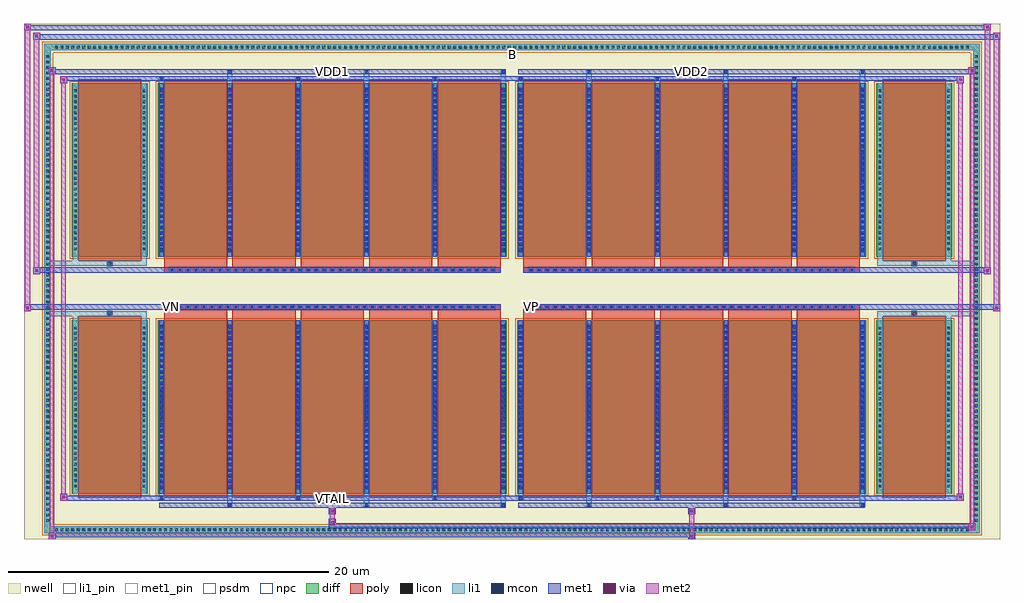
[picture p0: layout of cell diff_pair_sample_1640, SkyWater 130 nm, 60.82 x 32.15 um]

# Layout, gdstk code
import gdstk
lib = gdstk.Library(unit=1e-6, precision=5e-09)
def R(c, l, rs):  # rectangles x0, y0, x1, y1
    for r in rs: c.add(gdstk.rectangle(r[:2], r[2:], *l))
def A(c, l, x, y, w, h, nx, ny, dx, dy):  # array of equal rectangles
    R(c, l, [(x+i*dx, y+j*dy, x+i*dx+w, y+j*dy+h) for i in range(nx) for j in range(ny)])
def P(c, l, *ps):  # polygons
    for p in ps: c.add(gdstk.Polygon(p, *l))
nwell = (64, 20)
diff = (65, 20)
poly = (66, 20)
licon = (66, 44)
li1_pin = (67, 16)
li1 = (67, 20)
mcon = (67, 44)
met1_pin = (68, 16)
met1 = (68, 20)
via = (68, 44)
met2 = (69, 20)
psdm = (94, 20)
npc = (95, 20)

diff_pair_sample_1640 = lib.new_cell('diff_pair_sample_1640')
R(diff_pair_sample_1640, nwell, [(-30.41,-15.64,30.41,16.51), (-27.73,-13.83,-0.01,-0.795), (0.01,-13.83,27.73,-0.795), (-27.73,0.795,-0.01,13.83), (0.01,0.795,27.73,13.83)])
A(diff_pair_sample_1640, diff, -28.595, -15.24, 0.41, 0.41, 168, 2, 0.34, 30.07)
A(diff_pair_sample_1640, diff, -29.14, -14.655, 0.41, 0.41, 1, 86, 0, 0.34)
A(diff_pair_sample_1640, diff, 28.73, -14.655, 0.41, 0.41, 1, 86, 0, 0.34)
R(diff_pair_sample_1640, diff, [(-28.595,-15.24,28.595,-14.83), (-29.14,-14.655,-28.73,14.655), (28.73,-14.655,29.14,14.655), (-27.42,-12.785,-22.71,-1.985), (-22.07,-12.785,-0.32,-1.985), (0.32,-12.785,22.07,-1.985), (22.71,-12.785,27.42,-1.985), (-27.42,1.985,-22.71,12.785), (-22.07,1.985,-0.32,12.785), (0.32,1.985,22.07,12.785), (22.71,1.985,27.42,12.785), (-28.595,14.83,28.595,15.24)])
P(diff_pair_sample_1640, diff, [(29.14,15.24),(-29.14,15.24),(-29.14,-14.83),(-28.73,-14.83),(-28.73,14.83),(28.73,14.83),(28.73,-14.83),(-28.73,-14.83),(-29.14,-14.83),(-29.14,-15.24),(29.14,-15.24)])
A(diff_pair_sample_1640, poly, -21.68, -13.035, 3.93, 11.3, 5, 2, 4.26, 14.77)
A(diff_pair_sample_1640, poly, 0.71, -13.035, 3.93, 11.3, 5, 2, 4.26, 14.77)
A(diff_pair_sample_1640, poly, -21.68, -1.735, 3.93, 0.41, 5, 2, 4.26, 3.06)
A(diff_pair_sample_1640, poly, 0.71, -1.735, 3.93, 0.41, 5, 2, 4.26, 3.06)
A(diff_pair_sample_1640, poly, -21.36, -1.325, 0.33, 0.33, 41, 2, 0.5, 2.32)
A(diff_pair_sample_1640, poly, 1.03, -1.325, 0.33, 0.33, 41, 2, 0.5, 2.32)
R(diff_pair_sample_1640, poly, [(-27.03,-13.035,-23.1,-1.735), (23.1,-13.035,27.03,-1.735), (-25.23,-1.735,-24.9,-1.405), (-25.23,-1.735,-24.9,-1.405), (24.9,-1.735,25.23,-1.405), (24.9,-1.735,25.23,-1.405), (-21.68,-1.325,-0.71,-0.995), (0.71,-1.325,21.68,-0.995), (-21.68,0.995,-0.71,1.325), (0.71,0.995,21.68,1.325), (-25.23,1.405,-24.9,1.735), (-25.23,1.405,-24.9,1.735), (24.9,1.405,25.23,1.735), (24.9,1.405,25.23,1.735), (-27.03,1.735,-23.1,13.035), (23.1,1.735,27.03,13.035)])
A(diff_pair_sample_1640, licon, -28.475, -15.12, 0.17, 0.17, 168, 2, 0.34, 30.07)
A(diff_pair_sample_1640, licon, -29.02, -14.535, 0.17, 0.17, 1, 86, 0, 0.34)
A(diff_pair_sample_1640, licon, 28.85, -14.535, 0.17, 0.17, 1, 86, 0, 0.34)
A(diff_pair_sample_1640, licon, -27.28, -12.4, 0.17, 0.17, 1, 30, 0, 0.34)
A(diff_pair_sample_1640, licon, -23.02, -12.4, 0.17, 0.17, 1, 30, 0, 0.34)
A(diff_pair_sample_1640, licon, -21.93, -12.4, 0.17, 0.17, 6, 30, 4.26, 0.34)
A(diff_pair_sample_1640, licon, 0.46, -12.4, 0.17, 0.17, 6, 30, 4.26, 0.34)
A(diff_pair_sample_1640, licon, 22.85, -12.4, 0.17, 0.17, 1, 30, 0, 0.34)
A(diff_pair_sample_1640, licon, 27.11, -12.4, 0.17, 0.17, 1, 30, 0, 0.34)
A(diff_pair_sample_1640, licon, -21.28, -1.245, 0.17, 0.17, 41, 2, 0.5, 2.32)
A(diff_pair_sample_1640, licon, 1.11, -1.245, 0.17, 0.17, 41, 2, 0.5, 2.32)
A(diff_pair_sample_1640, licon, -27.28, 2.37, 0.17, 0.17, 1, 30, 0, 0.34)
A(diff_pair_sample_1640, licon, -23.02, 2.37, 0.17, 0.17, 1, 30, 0, 0.34)
A(diff_pair_sample_1640, licon, -21.93, 2.37, 0.17, 0.17, 6, 30, 4.26, 0.34)
A(diff_pair_sample_1640, licon, 0.46, 2.37, 0.17, 0.17, 6, 30, 4.26, 0.34)
A(diff_pair_sample_1640, licon, 22.85, 2.37, 0.17, 0.17, 1, 30, 0, 0.34)
A(diff_pair_sample_1640, licon, 27.11, 2.37, 0.17, 0.17, 1, 30, 0, 0.34)
R(diff_pair_sample_1640, licon, [(-25.15,-1.655,-24.98,-1.485), (24.98,-1.655,25.15,-1.485), (-25.15,1.485,-24.98,1.655), (24.98,1.485,25.15,1.655)])
R(diff_pair_sample_1640, li1_pin, [(-0.25,14.33,0.25,14.83)])
A(diff_pair_sample_1640, li1, -28.555, -15.2, 0.33, 0.33, 168, 2, 0.34, 30.07)
A(diff_pair_sample_1640, li1, -29.1, -14.615, 0.33, 0.33, 1, 86, 0, 0.34)
A(diff_pair_sample_1640, li1, 28.77, -14.615, 0.33, 0.33, 1, 86, 0, 0.34)
A(diff_pair_sample_1640, li1, -17.75, -13.59, 0.33, 0.805, 3, 2, 8.52, 26.375)
A(diff_pair_sample_1640, li1, -17.67, -13.59, 0.17, 0.17, 3, 2, 8.52, 27.01)
A(diff_pair_sample_1640, li1, 4.64, -13.59, 0.33, 0.805, 3, 2, 8.52, 26.375)
A(diff_pair_sample_1640, li1, 4.72, -13.59, 0.17, 0.17, 3, 2, 8.52, 27.01)
A(diff_pair_sample_1640, li1, -22.01, -13.16, 0.33, 0.375, 3, 2, 8.52, 25.945)
A(diff_pair_sample_1640, li1, -21.93, -13.16, 0.17, 0.17, 3, 2, 8.52, 26.15)
A(diff_pair_sample_1640, li1, 0.38, -13.16, 0.33, 0.375, 3, 2, 8.52, 25.945)
A(diff_pair_sample_1640, li1, 0.46, -13.16, 0.17, 0.17, 3, 2, 8.52, 26.15)
A(diff_pair_sample_1640, li1, -22.01, -12.785, 0.33, 10.8, 6, 2, 4.26, 14.77)
A(diff_pair_sample_1640, li1, 0.38, -12.785, 0.33, 10.8, 6, 2, 4.26, 14.77)
A(diff_pair_sample_1640, li1, -21.93, -12.51, 0.17, 0.17, 6, 29, 4.26, 0.36)
A(diff_pair_sample_1640, li1, -21.93, -12.51, 0.17, 10.25, 6, 2, 4.26, 14.77)
A(diff_pair_sample_1640, li1, 0.46, -12.51, 0.17, 0.17, 6, 29, 4.26, 0.36)
A(diff_pair_sample_1640, li1, 0.46, -12.51, 0.17, 10.25, 6, 2, 4.26, 14.77)
A(diff_pair_sample_1640, li1, -27.36, -12.48, 0.33, 0.33, 1, 30, 0, 0.34)
A(diff_pair_sample_1640, li1, -23.1, -12.48, 0.33, 0.33, 1, 30, 0, 0.34)
A(diff_pair_sample_1640, li1, -22.01, -12.48, 0.33, 0.33, 6, 30, 4.26, 0.34)
A(diff_pair_sample_1640, li1, 0.38, -12.48, 0.33, 0.33, 6, 30, 4.26, 0.34)
A(diff_pair_sample_1640, li1, 22.77, -12.48, 0.33, 0.33, 1, 30, 0, 0.34)
A(diff_pair_sample_1640, li1, 27.03, -12.48, 0.33, 0.33, 1, 30, 0, 0.34)
A(diff_pair_sample_1640, li1, -21.36, -1.325, 0.33, 0.33, 41, 2, 0.5, 2.32)
A(diff_pair_sample_1640, li1, 1.03, -1.325, 0.33, 0.33, 41, 2, 0.5, 2.32)
A(diff_pair_sample_1640, li1, -21.93, 2.26, 0.17, 0.17, 6, 29, 4.26, 0.36)
A(diff_pair_sample_1640, li1, 0.46, 2.26, 0.17, 0.17, 6, 29, 4.26, 0.36)
A(diff_pair_sample_1640, li1, -27.36, 2.29, 0.33, 0.33, 1, 30, 0, 0.34)
A(diff_pair_sample_1640, li1, -23.1, 2.29, 0.33, 0.33, 1, 30, 0, 0.34)
A(diff_pair_sample_1640, li1, -22.01, 2.29, 0.33, 0.33, 6, 30, 4.26, 0.34)
A(diff_pair_sample_1640, li1, 0.38, 2.29, 0.33, 0.33, 6, 30, 4.26, 0.34)
A(diff_pair_sample_1640, li1, 22.77, 2.29, 0.33, 0.33, 1, 30, 0, 0.34)
A(diff_pair_sample_1640, li1, 27.03, 2.29, 0.33, 0.33, 1, 30, 0, 0.34)
R(diff_pair_sample_1640, li1, [(-29.14,-15.24,-28.73,-14.83), (-29.14,-15.24,-28.73,-14.83), (-28.73,-15.24,28.73,-14.83), (28.73,-15.24,29.14,-14.83), (28.73,-15.24,29.14,-14.83), (-29.14,-14.83,-28.73,14.83), (28.73,-14.83,29.14,14.83), (-27.36,-12.785,-27.03,-1.985), (-23.1,-12.785,-22.77,-1.985), (22.77,-12.785,23.1,-1.985), (27.03,-12.785,27.36,-1.985), (-27.36,-1.985,-27.03,-1.405), (-23.1,-1.985,-22.77,-1.405), (22.77,-1.985,23.1,-1.405), (27.03,-1.985,27.36,-1.405), (-29.14,-1.735,-25.23,-1.405), (-27.36,-1.735,-25.23,-1.405), (-25.23,-1.735,-24.9,-1.405), (-24.9,-1.735,-22.77,-1.405), (22.77,-1.735,24.9,-1.405), (24.9,-1.735,25.23,-1.405), (24.9,-1.735,29.14,-1.405), (25.23,-1.735,27.36,-1.405), (-29.14,1.405,-25.23,1.735), (-27.36,1.405,-25.23,1.735), (-27.36,1.405,-27.03,1.985), (-25.23,1.405,-24.9,1.735), (-24.9,1.405,-22.77,1.735), (-23.1,1.405,-22.77,1.985), (22.77,1.405,24.9,1.735), (22.77,1.405,23.1,1.985), (24.9,1.405,25.23,1.735), (24.9,1.405,29.14,1.735), (25.23,1.405,27.36,1.735), (27.03,1.405,27.36,1.985), (-27.36,1.985,-27.03,12.785), (-23.1,1.985,-22.77,12.785), (22.77,1.985,23.1,12.785), (27.03,1.985,27.36,12.785), (-29.14,14.83,-28.73,15.24), (-29.14,14.83,-28.73,15.24), (-28.73,14.83,28.73,15.24), (28.73,14.83,29.14,15.24), (28.73,14.83,29.14,15.24)])
A(diff_pair_sample_1640, mcon, -17.67, -13.59, 0.17, 0.17, 3, 2, 8.52, 27.01)
A(diff_pair_sample_1640, mcon, 4.72, -13.59, 0.17, 0.17, 3, 2, 8.52, 27.01)
A(diff_pair_sample_1640, mcon, -21.93, -13.16, 0.17, 0.17, 3, 2, 8.52, 26.15)
A(diff_pair_sample_1640, mcon, 0.46, -13.16, 0.17, 0.17, 3, 2, 8.52, 26.15)
A(diff_pair_sample_1640, mcon, -21.93, -12.51, 0.17, 0.17, 6, 29, 4.26, 0.36)
A(diff_pair_sample_1640, mcon, 0.46, -12.51, 0.17, 0.17, 6, 29, 4.26, 0.36)
A(diff_pair_sample_1640, mcon, -21.28, -1.245, 0.17, 0.17, 41, 2, 0.5, 2.32)
A(diff_pair_sample_1640, mcon, 1.11, -1.245, 0.17, 0.17, 41, 2, 0.5, 2.32)
A(diff_pair_sample_1640, mcon, -21.93, 2.26, 0.17, 0.17, 6, 29, 4.26, 0.36)
A(diff_pair_sample_1640, mcon, 0.46, 2.26, 0.17, 0.17, 6, 29, 4.26, 0.36)
R(diff_pair_sample_1640, met1_pin, [(-11.33,-13.2,-11.06,-12.93), (-21.33,-1.285,-21.06,-1.015), (1.06,-1.285,1.33,-1.015), (-11.33,13.38,-11.06,13.65), (11.06,13.38,11.33,13.65)])
A(diff_pair_sample_1640, met1, -17.73, -13.65, 0.29, 0.29, 3, 2, 8.52, 27.01)
A(diff_pair_sample_1640, met1, 4.66, -13.65, 0.29, 0.29, 3, 2, 8.52, 27.01)
A(diff_pair_sample_1640, met1, -21.99, -13.22, 0.29, 0.29, 3, 2, 8.52, 26.15)
A(diff_pair_sample_1640, met1, 0.4, -13.22, 0.29, 0.29, 3, 2, 8.52, 26.15)
A(diff_pair_sample_1640, met1, -21.99, -12.785, 0.29, 10.8, 6, 2, 4.26, 14.77)
A(diff_pair_sample_1640, met1, 0.4, -12.785, 0.29, 10.8, 6, 2, 4.26, 14.77)
A(diff_pair_sample_1640, met1, -21.99, -12.57, 0.29, 0.29, 6, 29, 4.26, 0.36)
A(diff_pair_sample_1640, met1, 0.4, -12.57, 0.29, 0.29, 6, 29, 4.26, 0.36)
A(diff_pair_sample_1640, met1, -21.34, -1.305, 0.29, 0.29, 41, 2, 0.5, 2.32)
A(diff_pair_sample_1640, met1, 1.05, -1.305, 0.29, 0.29, 41, 2, 0.5, 2.32)
A(diff_pair_sample_1640, met1, -21.99, 2.2, 0.29, 0.29, 6, 29, 4.26, 0.36)
A(diff_pair_sample_1640, met1, 0.4, 2.2, 0.29, 0.29, 6, 29, 4.26, 0.36)
R(diff_pair_sample_1640, met1, [(-28.87,-15.64,-28.44,-15.21), (10.98,-15.64,11.41,-15.21), (-28.87,-15.5,11.41,-15.21), (28.44,-15.07,28.87,-14.64), (-11.41,-14.93,28.87,-14.64), (-11.41,-14.79,-10.98,-14.36), (-11.41,-14.08,-10.98,-13.65), (10.98,-14.08,11.41,-13.65), (-21.99,-13.65,-0.4,-13.36), (0.4,-13.65,21.99,-13.36), (-28.16,-13.22,-27.73,-12.79), (-28.16,-13.22,-21.99,-12.93), (-21.99,-13.22,-0.4,-12.93), (-0.4,-13.22,0.4,-12.93), (0.4,-13.22,21.99,-12.93), (21.99,-13.22,28.16,-12.93), (27.73,-13.22,28.16,-12.79), (-30.41,-1.425,-29.98,-0.995), (29.98,-1.425,30.41,-0.995), (-30.41,-1.325,-0.71,-0.995), (-21.68,-1.325,-0.71,-0.995), (0.71,-1.325,21.68,-0.995), (0.71,-1.325,30.41,-0.995), (-29.84,0.895,-29.41,1.325), (29.41,0.895,29.84,1.325), (-29.84,0.995,-21.68,1.325), (-21.68,0.995,-0.71,1.325), (0.71,0.995,21.68,1.325), (21.68,0.995,29.84,1.325), (-28.16,12.79,-27.73,13.22), (27.73,12.79,28.16,13.22), (-28.16,12.93,-21.99,13.22), (-21.99,12.93,-0.4,13.22), (-0.4,12.93,0.4,13.22), (0.4,12.93,21.99,13.22), (21.99,12.93,28.16,13.22), (-28.87,13.36,-28.44,13.79), (-28.87,13.36,-21.99,13.65), (-21.99,13.36,-0.4,13.65), (0.4,13.36,21.99,13.65), (21.99,13.36,28.87,13.65), (28.44,13.36,28.87,13.79), (-29.84,15.51,-29.41,15.94), (-29.84,15.51,-27.73,15.84), (-27.73,15.51,27.73,15.84), (27.73,15.51,30.41,15.84), (29.98,15.51,30.41,15.94), (-30.41,16.08,-29.98,16.51), (-30.41,16.08,-27.73,16.41), (-27.73,16.08,27.73,16.41), (27.73,16.08,29.84,16.41), (29.41,16.08,29.84,16.51)])
R(diff_pair_sample_1640, via, [(-28.73,-15.5,-28.58,-15.35), (11.12,-15.5,11.27,-15.35), (28.58,-14.93,28.73,-14.78), (-11.27,-14.65,-11.12,-14.5), (-11.27,-13.94,-11.12,-13.79), (11.12,-13.94,11.27,-13.79), (-28.02,-13.08,-27.87,-12.93), (27.87,-13.08,28.02,-12.93), (-30.27,-1.285,-30.12,-1.135), (30.12,-1.285,30.27,-1.135), (-29.7,1.035,-29.55,1.185), (29.55,1.035,29.7,1.185), (-28.02,12.93,-27.87,13.08), (27.87,12.93,28.02,13.08), (-28.73,13.5,-28.58,13.65), (28.58,13.5,28.73,13.65), (-29.7,15.65,-29.55,15.8), (30.12,15.65,30.27,15.8), (-30.27,16.22,-30.12,16.37), (29.55,16.22,29.7,16.37)])
R(diff_pair_sample_1640, met2, [(-28.87,-15.64,-28.44,-15.21), (-28.8,-15.64,-28.51,13.79), (-28.51,-15.64,-28.44,-15.21), (-28.82,-15.59,-28.49,-15.26), (11.03,-15.59,11.36,-15.26), (11.03,-15.26,11.36,-14.03), (28.44,-15.07,28.87,-14.64), (28.51,-15.07,28.8,13.79), (28.8,-15.07,28.87,-14.64), (28.49,-15.02,28.82,-14.69), (-11.36,-14.74,-11.03,-14.41), (-11.36,-14.41,-11.03,-14.03), (-11.36,-14.03,-11.03,-13.7), (11.03,-14.03,11.36,-13.7), (-28.16,-13.22,-27.73,-12.79), (-28.09,-13.22,-27.8,13.22), (-27.8,-13.22,-27.73,-12.79), (27.73,-13.22,28.16,-12.79), (27.8,-13.22,28.09,13.22), (28.09,-13.22,28.16,-12.79), (-28.11,-13.17,-27.78,-12.84), (27.78,-13.17,28.11,-12.84), (-30.41,-1.425,-29.98,-0.995), (-30.36,-1.425,-30.03,16.51), (-30.03,-1.425,-29.98,-0.995), (29.98,-1.425,30.41,-0.995), (30.03,-1.425,30.36,15.94), (30.36,-1.425,30.41,-0.995), (-30.36,-1.375,-30.03,-1.045), (30.03,-1.375,30.36,-1.045), (-29.84,0.895,-29.41,1.325), (-29.79,0.895,-29.46,15.94), (-29.46,0.895,-29.41,1.325), (29.41,0.895,29.84,1.325), (29.46,0.895,29.79,16.51), (29.79,0.895,29.84,1.325), (-29.79,0.945,-29.46,1.275), (29.46,0.945,29.79,1.275), (-28.16,12.79,-27.73,13.22), (-27.8,12.79,-27.73,13.22), (27.73,12.79,28.16,13.22), (28.09,12.79,28.16,13.22), (-28.11,12.84,-27.78,13.17), (27.78,12.84,28.11,13.17), (-28.87,13.36,-28.44,13.79), (-28.51,13.36,-28.44,13.79), (28.44,13.36,28.87,13.79), (28.8,13.36,28.87,13.79), (-28.82,13.41,-28.49,13.74), (28.49,13.41,28.82,13.74), (-29.84,15.51,-29.41,15.94), (-29.46,15.51,-29.41,15.94), (29.98,15.51,30.41,15.94), (30.36,15.51,30.41,15.94), (-29.79,15.56,-29.46,15.89), (30.03,15.56,30.36,15.89), (-30.41,16.08,-29.98,16.51), (-30.03,16.08,-29.98,16.51), (29.41,16.08,29.84,16.51), (29.79,16.08,29.84,16.51), (-30.36,16.13,-30.03,16.46), (29.46,16.13,29.79,16.46)])
R(diff_pair_sample_1640, psdm, [(-27.55,-12.915,-22.58,-1.855), (-22.2,-12.915,-0.19,-1.855), (0.19,-12.915,22.2,-1.855), (22.58,-12.915,27.55,-1.855), (-27.55,1.855,-22.58,12.915), (-22.2,1.855,-0.19,12.915), (0.19,1.855,22.2,12.915), (22.58,1.855,27.55,12.915)])
P(diff_pair_sample_1640, psdm, [(29.27,15.37),(-29.27,15.37),(-29.27,-14.7),(-28.6,-14.7),(-28.6,14.7),(28.6,14.7),(28.6,-14.7),(-28.6,-14.7),(-29.27,-14.7),(-29.27,-15.37),(29.27,-15.37)])
A(diff_pair_sample_1640, npc, -21.38, -1.345, 0.37, 0.37, 41, 2, 0.5, 2.32)
A(diff_pair_sample_1640, npc, 1.01, -1.345, 0.37, 0.37, 41, 2, 0.5, 2.32)
R(diff_pair_sample_1640, npc, [(-25.25,-1.755,-24.88,-1.385), (24.88,-1.755,25.25,-1.385), (-21.38,-1.345,-20.51,-0.975), (-21.38,-1.345,-20.51,-0.975), (-20.88,-1.345,-20.01,-0.975), (-20.88,-1.345,-20.01,-0.975), (-20.38,-1.345,-19.51,-0.975), (-20.38,-1.345,-19.51,-0.975), (-19.88,-1.345,-19.01,-0.975), (-19.88,-1.345,-19.01,-0.975), (-19.38,-1.345,-18.51,-0.975), (-19.38,-1.345,-18.51,-0.975), (-18.88,-1.345,-18.01,-0.975), (-18.88,-1.345,-18.01,-0.975), (-18.38,-1.345,-17.51,-0.975), (-18.38,-1.345,-17.51,-0.975), (-17.88,-1.345,-17.01,-0.975), (-17.88,-1.345,-17.01,-0.975), (-17.38,-1.345,-16.51,-0.975), (-17.38,-1.345,-16.51,-0.975), (-16.88,-1.345,-16.01,-0.975), (-16.88,-1.345,-16.01,-0.975), (-16.38,-1.345,-15.51,-0.975), (-16.38,-1.345,-15.51,-0.975), (-15.88,-1.345,-15.01,-0.975), (-15.88,-1.345,-15.01,-0.975), (-15.38,-1.345,-14.51,-0.975), (-15.38,-1.345,-14.51,-0.975), (-14.88,-1.345,-14.01,-0.975), (-14.88,-1.345,-14.01,-0.975), (-14.38,-1.345,-13.51,-0.975), (-14.38,-1.345,-13.51,-0.975), (-13.88,-1.345,-13.01,-0.975), (-13.88,-1.345,-13.01,-0.975), (-13.38,-1.345,-12.51,-0.975), (-13.38,-1.345,-12.51,-0.975), (-12.88,-1.345,-12.01,-0.975), (-12.88,-1.345,-12.01,-0.975), (-12.38,-1.345,-11.51,-0.975), (-12.38,-1.345,-11.51,-0.975), (-11.88,-1.345,-11.01,-0.975), (-11.88,-1.345,-11.01,-0.975), (-11.38,-1.345,-10.51,-0.975), (-11.38,-1.345,-10.51,-0.975), (-10.88,-1.345,-10.01,-0.975), (-10.88,-1.345,-10.01,-0.975), (-10.38,-1.345,-9.51,-0.975), (-10.38,-1.345,-9.51,-0.975), (-9.88,-1.345,-9.01,-0.975), (-9.88,-1.345,-9.01,-0.975), (-9.38,-1.345,-8.51,-0.975), (-9.38,-1.345,-8.51,-0.975), (-8.88,-1.345,-8.01,-0.975), (-8.88,-1.345,-8.01,-0.975), (-8.38,-1.345,-7.51,-0.975), (-8.38,-1.345,-7.51,-0.975), (-7.88,-1.345,-7.01,-0.975), (-7.88,-1.345,-7.01,-0.975), (-7.38,-1.345,-6.51,-0.975), (-7.38,-1.345,-6.51,-0.975), (-6.88,-1.345,-6.01,-0.975), (-6.88,-1.345,-6.01,-0.975), (-6.38,-1.345,-5.51,-0.975), (-6.38,-1.345,-5.51,-0.975), (-5.88,-1.345,-5.01,-0.975), (-5.88,-1.345,-5.01,-0.975), (-5.38,-1.345,-4.51,-0.975), (-5.38,-1.345,-4.51,-0.975), (-4.88,-1.345,-4.01,-0.975), (-4.88,-1.345,-4.01,-0.975), (-4.38,-1.345,-3.51,-0.975), (-4.38,-1.345,-3.51,-0.975), (-3.88,-1.345,-3.01,-0.975), (-3.88,-1.345,-3.01,-0.975), (-3.38,-1.345,-2.51,-0.975), (-3.38,-1.345,-2.51,-0.975), (-2.88,-1.345,-2.01,-0.975), (-2.88,-1.345,-2.01,-0.975), (-2.38,-1.345,-1.51,-0.975), (-2.38,-1.345,-1.51,-0.975), (-1.88,-1.345,-1.01,-0.975), (-1.88,-1.345,-1.01,-0.975), (1.01,-1.345,1.88,-0.975), (1.01,-1.345,1.88,-0.975), (1.51,-1.345,2.38,-0.975), (1.51,-1.345,2.38,-0.975), (2.01,-1.345,2.88,-0.975), (2.01,-1.345,2.88,-0.975), (2.51,-1.345,3.38,-0.975), (2.51,-1.345,3.38,-0.975), (3.01,-1.345,3.88,-0.975), (3.01,-1.345,3.88,-0.975), (3.51,-1.345,4.38,-0.975), (3.51,-1.345,4.38,-0.975), (4.01,-1.345,4.88,-0.975), (4.01,-1.345,4.88,-0.975), (4.51,-1.345,5.38,-0.975), (4.51,-1.345,5.38,-0.975), (5.01,-1.345,5.88,-0.975), (5.01,-1.345,5.88,-0.975), (5.51,-1.345,6.38,-0.975), (5.51,-1.345,6.38,-0.975), (6.01,-1.345,6.88,-0.975), (6.01,-1.345,6.88,-0.975), (6.51,-1.345,7.38,-0.975), (6.51,-1.345,7.38,-0.975), (7.01,-1.345,7.88,-0.975), (7.01,-1.345,7.88,-0.975), (7.51,-1.345,8.38,-0.975), (7.51,-1.345,8.38,-0.975), (8.01,-1.345,8.88,-0.975), (8.01,-1.345,8.88,-0.975), (8.51,-1.345,9.38,-0.975), (8.51,-1.345,9.38,-0.975), (9.01,-1.345,9.88,-0.975), (9.01,-1.345,9.88,-0.975), (9.51,-1.345,10.38,-0.975), (9.51,-1.345,10.38,-0.975), (10.01,-1.345,10.88,-0.975), (10.01,-1.345,10.88,-0.975), (10.51,-1.345,11.38,-0.975), (10.51,-1.345,11.38,-0.975), (11.01,-1.345,11.88,-0.975), (11.01,-1.345,11.88,-0.975), (11.51,-1.345,12.38,-0.975), (11.51,-1.345,12.38,-0.975), (12.01,-1.345,12.88,-0.975), (12.01,-1.345,12.88,-0.975), (12.51,-1.345,13.38,-0.975), (12.51,-1.345,13.38,-0.975), (13.01,-1.345,13.88,-0.975), (13.01,-1.345,13.88,-0.975), (13.51,-1.345,14.38,-0.975), (13.51,-1.345,14.38,-0.975), (14.01,-1.345,14.88,-0.975), (14.01,-1.345,14.88,-0.975), (14.51,-1.345,15.38,-0.975), (14.51,-1.345,15.38,-0.975), (15.01,-1.345,15.88,-0.975), (15.01,-1.345,15.88,-0.975), (15.51,-1.345,16.38,-0.975), (15.51,-1.345,16.38,-0.975), (16.01,-1.345,16.88,-0.975), (16.01,-1.345,16.88,-0.975), (16.51,-1.345,17.38,-0.975), (16.51,-1.345,17.38,-0.975), (17.01,-1.345,17.88,-0.975), (17.01,-1.345,17.88,-0.975), (17.51,-1.345,18.38,-0.975), (17.51,-1.345,18.38,-0.975), (18.01,-1.345,18.88,-0.975), (18.01,-1.345,18.88,-0.975), (18.51,-1.345,19.38,-0.975), (18.51,-1.345,19.38,-0.975), (19.01,-1.345,19.88,-0.975), (19.01,-1.345,19.88,-0.975), (19.51,-1.345,20.38,-0.975), (19.51,-1.345,20.38,-0.975), (20.01,-1.345,20.88,-0.975), (20.01,-1.345,20.88,-0.975), (20.51,-1.345,21.38,-0.975), (20.51,-1.345,21.38,-0.975), (-21.38,0.975,-20.51,1.345), (-21.38,0.975,-20.51,1.345), (-20.88,0.975,-20.01,1.345), (-20.88,0.975,-20.01,1.345), (-20.38,0.975,-19.51,1.345), (-20.38,0.975,-19.51,1.345), (-19.88,0.975,-19.01,1.345), (-19.88,0.975,-19.01,1.345), (-19.38,0.975,-18.51,1.345), (-19.38,0.975,-18.51,1.345), (-18.88,0.975,-18.01,1.345), (-18.88,0.975,-18.01,1.345), (-18.38,0.975,-17.51,1.345), (-18.38,0.975,-17.51,1.345), (-17.88,0.975,-17.01,1.345), (-17.88,0.975,-17.01,1.345), (-17.38,0.975,-16.51,1.345), (-17.38,0.975,-16.51,1.345), (-16.88,0.975,-16.01,1.345), (-16.88,0.975,-16.01,1.345), (-16.38,0.975,-15.51,1.345), (-16.38,0.975,-15.51,1.345), (-15.88,0.975,-15.01,1.345), (-15.88,0.975,-15.01,1.345), (-15.38,0.975,-14.51,1.345), (-15.38,0.975,-14.51,1.345), (-14.88,0.975,-14.01,1.345), (-14.88,0.975,-14.01,1.345), (-14.38,0.975,-13.51,1.345), (-14.38,0.975,-13.51,1.345), (-13.88,0.975,-13.01,1.345), (-13.88,0.975,-13.01,1.345), (-13.38,0.975,-12.51,1.345), (-13.38,0.975,-12.51,1.345), (-12.88,0.975,-12.01,1.345), (-12.88,0.975,-12.01,1.345), (-12.38,0.975,-11.51,1.345), (-12.38,0.975,-11.51,1.345), (-11.88,0.975,-11.01,1.345), (-11.88,0.975,-11.01,1.345), (-11.38,0.975,-10.51,1.345), (-11.38,0.975,-10.51,1.345), (-10.88,0.975,-10.01,1.345), (-10.88,0.975,-10.01,1.345), (-10.38,0.975,-9.51,1.345), (-10.38,0.975,-9.51,1.345), (-9.88,0.975,-9.01,1.345), (-9.88,0.975,-9.01,1.345), (-9.38,0.975,-8.51,1.345), (-9.38,0.975,-8.51,1.345), (-8.88,0.975,-8.01,1.345), (-8.88,0.975,-8.01,1.345), (-8.38,0.975,-7.51,1.345), (-8.38,0.975,-7.51,1.345), (-7.88,0.975,-7.01,1.345), (-7.88,0.975,-7.01,1.345), (-7.38,0.975,-6.51,1.345), (-7.38,0.975,-6.51,1.345), (-6.88,0.975,-6.01,1.345), (-6.88,0.975,-6.01,1.345), (-6.38,0.975,-5.51,1.345), (-6.38,0.975,-5.51,1.345), (-5.88,0.975,-5.01,1.345), (-5.88,0.975,-5.01,1.345), (-5.38,0.975,-4.51,1.345), (-5.38,0.975,-4.51,1.345), (-4.88,0.975,-4.01,1.345), (-4.88,0.975,-4.01,1.345), (-4.38,0.975,-3.51,1.345), (-4.38,0.975,-3.51,1.345), (-3.88,0.975,-3.01,1.345), (-3.88,0.975,-3.01,1.345), (-3.38,0.975,-2.51,1.345), (-3.38,0.975,-2.51,1.345), (-2.88,0.975,-2.01,1.345), (-2.88,0.975,-2.01,1.345), (-2.38,0.975,-1.51,1.345), (-2.38,0.975,-1.51,1.345), (-1.88,0.975,-1.01,1.345), (-1.88,0.975,-1.01,1.345), (1.01,0.975,1.88,1.345), (1.01,0.975,1.88,1.345), (1.51,0.975,2.38,1.345), (1.51,0.975,2.38,1.345), (2.01,0.975,2.88,1.345), (2.01,0.975,2.88,1.345), (2.51,0.975,3.38,1.345), (2.51,0.975,3.38,1.345), (3.01,0.975,3.88,1.345), (3.01,0.975,3.88,1.345), (3.51,0.975,4.38,1.345), (3.51,0.975,4.38,1.345), (4.01,0.975,4.88,1.345), (4.01,0.975,4.88,1.345), (4.51,0.975,5.38,1.345), (4.51,0.975,5.38,1.345), (5.01,0.975,5.88,1.345), (5.01,0.975,5.88,1.345), (5.51,0.975,6.38,1.345), (5.51,0.975,6.38,1.345), (6.01,0.975,6.88,1.345), (6.01,0.975,6.88,1.345), (6.51,0.975,7.38,1.345), (6.51,0.975,7.38,1.345), (7.01,0.975,7.88,1.345), (7.01,0.975,7.88,1.345), (7.51,0.975,8.38,1.345), (7.51,0.975,8.38,1.345), (8.01,0.975,8.88,1.345), (8.01,0.975,8.88,1.345), (8.51,0.975,9.38,1.345), (8.51,0.975,9.38,1.345), (9.01,0.975,9.88,1.345), (9.01,0.975,9.88,1.345), (9.51,0.975,10.38,1.345), (9.51,0.975,10.38,1.345), (10.01,0.975,10.88,1.345), (10.01,0.975,10.88,1.345), (10.51,0.975,11.38,1.345), (10.51,0.975,11.38,1.345), (11.01,0.975,11.88,1.345), (11.01,0.975,11.88,1.345), (11.51,0.975,12.38,1.345), (11.51,0.975,12.38,1.345), (12.01,0.975,12.88,1.345), (12.01,0.975,12.88,1.345), (12.51,0.975,13.38,1.345), (12.51,0.975,13.38,1.345), (13.01,0.975,13.88,1.345), (13.01,0.975,13.88,1.345), (13.51,0.975,14.38,1.345), (13.51,0.975,14.38,1.345), (14.01,0.975,14.88,1.345), (14.01,0.975,14.88,1.345), (14.51,0.975,15.38,1.345), (14.51,0.975,15.38,1.345), (15.01,0.975,15.88,1.345), (15.01,0.975,15.88,1.345), (15.51,0.975,16.38,1.345), (15.51,0.975,16.38,1.345), (16.01,0.975,16.88,1.345), (16.01,0.975,16.88,1.345), (16.51,0.975,17.38,1.345), (16.51,0.975,17.38,1.345), (17.01,0.975,17.88,1.345), (17.01,0.975,17.88,1.345), (17.51,0.975,18.38,1.345), (17.51,0.975,18.38,1.345), (18.01,0.975,18.88,1.345), (18.01,0.975,18.88,1.345), (18.51,0.975,19.38,1.345), (18.51,0.975,19.38,1.345), (19.01,0.975,19.88,1.345), (19.01,0.975,19.88,1.345), (19.51,0.975,20.38,1.345), (19.51,0.975,20.38,1.345), (20.01,0.975,20.88,1.345), (20.01,0.975,20.88,1.345), (20.51,0.975,21.38,1.345), (20.51,0.975,21.38,1.345), (-25.25,1.385,-24.88,1.755), (24.88,1.385,25.25,1.755)])
diff_pair_sample_1640.add(gdstk.Label('VTAIL', (-11.195,-13.065), layer=68, texttype=5))
diff_pair_sample_1640.add(gdstk.Label('VN', (-21.195,-1.15), layer=68, texttype=5))
diff_pair_sample_1640.add(gdstk.Label('VP', (1.195,-1.15), layer=68, texttype=5))
diff_pair_sample_1640.add(gdstk.Label('B', (0,14.58), layer=67, texttype=5))
diff_pair_sample_1640.add(gdstk.Label('VDD2', (11.195,13.515), layer=68, texttype=5))
diff_pair_sample_1640.add(gdstk.Label('VDD1', (-11.195,13.515), layer=68, texttype=5))

lib.write_gds('diff_pair_sample_1640.gds')
